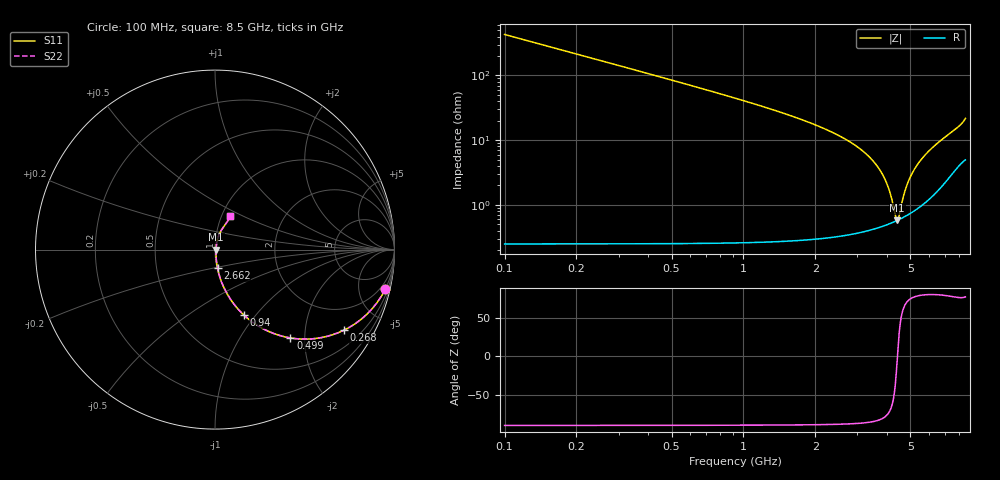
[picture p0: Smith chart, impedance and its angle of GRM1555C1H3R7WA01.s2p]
!Murata Part Number: GRM1555C1H3R7WA01
!These Parameters are Measured in Series Mode Connection
!Data Generated on Mar 30, 2021
!  o--ll--o
!Port1  Port2
!  o------o
!Operation Temp=25[degC], DC Bias Voltage=0[V]
!Freq. Start=100[MHz] Stop=9[GHz] 401[Steps]
# Hz S RI R 50
!Freq.(Hz) S11(Real) S11(Imag) S21(Real) S21(Imag) S12(Real) S12(Imag) S22(Real) S22(Imag)
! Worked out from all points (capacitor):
!   401 points, 100 MHz to 8.5 GHz, reference 50 ohm
!   read as one part in series: C = 3.7 pF near 142 MHz
!   lowest |Z| = 579 mohm at 4.405 GHz (marker M1)
!   series resonance near 4.415 GHz, so ESL is about 350 pH
!   S11 on the Smith chart (normalised r, x): 100 MHz: 1.01, -8.60; 268 MHz: 1.01, -3.20; 499 MHz: 1.01, -1.70; 940 MHz: 1.01, -0.88; 2.662 GHz: 1.01, -0.21; 8.5 GHz: 1.10, +0.42
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1e8  0.9486 -0.2206  0.0514 0.2206  0.0514 0.2206  0.9486 -0.2206
2.05e8  0.814 -0.3885  0.186 0.3885  0.186 0.3885  0.814 -0.3885
2.68e8  0.7186 -0.4489  0.2814 0.4489  0.2814 0.4489  0.7186 -0.4489
3.73e8  0.5673 -0.4944  0.4327 0.4944  0.4327 0.4944  0.5673 -0.4944
4.99e8  0.4205 -0.4922  0.5795 0.4922  0.5795 0.4922  0.4205 -0.4922
6.88e8  0.2725 -0.4432  0.7275 0.4432  0.7275 0.4432  0.2725 -0.4432
9.4e8  0.1623 -0.3658  0.8377 0.3658  0.8377 0.3658  0.1623 -0.3658
1.507e9  0.0627 -0.237  0.9373 0.237  0.9373 0.237  0.0627 -0.237
2.662e9  0.0141 -0.1028  0.9859 0.1028  0.9859 0.1028  0.0141 -0.1028
2.914e9  0.0107 -0.0839  0.9893 0.0839  0.9893 0.0839  0.0107 -0.0839
3.439e9  0.00665 -0.0501  0.9933 0.0501  0.9933 0.0501  0.00665 -0.0501
3.817e9  0.0055 -0.0293  0.9945 0.0293  0.9945 0.0293  0.0055 -0.0293
4.09e9  0.00534 -0.0154  0.9947 0.0154  0.9947 0.0154  0.00534 -0.0154
4.3e9  0.00554 -0.00533  0.9945 0.00533  0.9945 0.00533  0.00554 -0.00533
4.405e9  0.00574 -0.000441  0.9943 0.000441  0.9943 0.000441  0.00574 -0.000441
4.468e9  0.00589 0.00245  0.9941 -0.00245  0.9941 -0.00245  0.00589 0.00245
4.72e9  0.00671 0.0137  0.9933 -0.0137  0.9933 -0.0137  0.00671 0.0137
4.93e9  0.00766 0.0228  0.9923 -0.0228  0.9923 -0.0228  0.00766 0.0228
5.266e9  0.00969 0.0368  0.9903 -0.0368  0.9903 -0.0368  0.00969 0.0368
5.707e9  0.0134 0.0546  0.9866 -0.0546  0.9866 -0.0546  0.0134 0.0546
7.114e9  0.0356 0.1086  0.9644 -0.1086  0.9644 -0.1086  0.0356 0.1086
8.5e9  0.0845 0.1845  0.9155 -0.1845  0.9155 -0.1845  0.0845 0.1845
